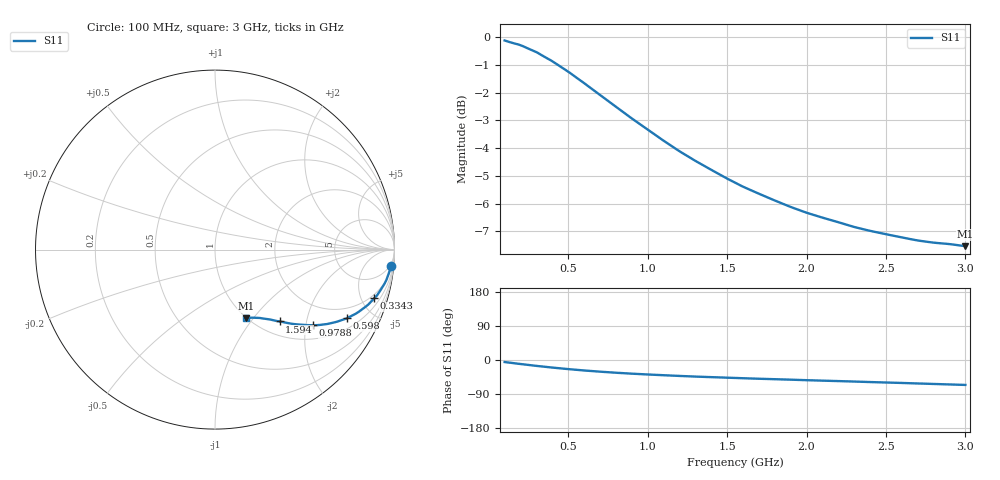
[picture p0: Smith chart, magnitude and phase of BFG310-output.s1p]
#Hz S ri R 50
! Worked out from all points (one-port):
!   100 points, 100 MHz to 3 GHz, reference 50 ohm
!   lowest |S11| = -7.5 dB at 3 GHz (marker M1), VSWR 2.45, Z = 49.5 - j46 ohm
!   |S11| at or under -10 dB: nowhere
!   S11 on the Smith chart (normalised r, x): 100 MHz: 3, -21; 334.3 MHz: 1.61, -6.28; 598 MHz: 1.45, -3.52; 978.8 MHz: 1.37, -2.19; 1.594 GHz: 1.25, -1.41; 3 GHz: 0.99, -0.92
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1e8  0.9824 -0.0922
1.87879e8  0.9555 -0.1679
2.17172e8  0.944 -0.1909
3.05051e8  0.9034 -0.2544
3.34343e8  0.8872 -0.2714
3.92929e8  0.8548 -0.3054
4.80808e8  0.8032 -0.3448
5.10101e8  0.7858 -0.3563
5.9798e8  0.7334 -0.3832
7.15152e8  0.6682 -0.4048
8.0303e8  0.6228 -0.4149
8.32323e8  0.609 -0.4166
8.90909e8  0.5812 -0.42
9.78788e8  0.5443 -0.4215
1.09596e9  0.499 -0.4198
1.21313e9  0.4587 -0.4167
1.30101e9  0.4322 -0.4139
1.38889e9  0.4091 -0.4099
1.56465e9  0.3671 -0.4016
1.59394e9  0.3604 -0.4004
1.71111e9  0.3374 -0.3965
1.91616e9  0.3023 -0.3886
2.00404e9  0.288 -0.3867
2.29697e9  0.2491 -0.3809
2.41414e9  0.2343 -0.3803
2.64848e9  0.2084 -0.3794
2.79495e9  0.1926 -0.3804
3e9  0.1723 -0.383
